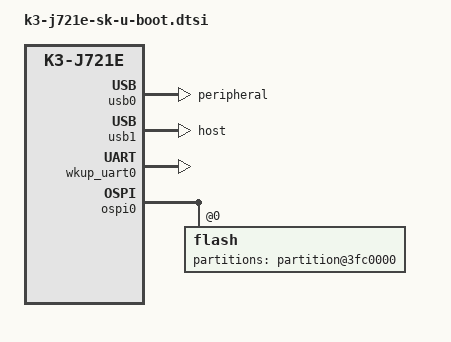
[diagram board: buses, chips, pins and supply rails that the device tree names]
// SPDX-License-Identifier: GPL-2.0
/*
 * Copyright (C) 2021 Texas Instruments Incorporated - https://www.ti.com/
 */

#include "k3-j721e-binman.dtsi"

&cbass_main {
	bootph-all;
};

&main_navss {
	bootph-all;
};

&cbass_mcu_wakeup {
	bootph-all;

	chipid@43000014 {
		bootph-all;
	};
};

&mcu_navss {
	bootph-all;
};

&mcu_ringacc {
		bootph-all;
};

&mcu_udmap {
	reg =	<0x0 0x285c0000 0x0 0x100>,
		<0x0 0x284c0000 0x0 0x4000>,
		<0x0 0x2a800000 0x0 0x40000>,
		<0x0 0x284a0000 0x0 0x4000>,
		<0x0 0x2aa00000 0x0 0x40000>,
		<0x0 0x28400000 0x0 0x2000>;
		reg-names = "gcfg", "rchan", "rchanrt", "tchan",
			    "tchanrt", "rflow";
		bootph-all;
};

&secure_proxy_main {
	bootph-all;
};

&dmsc {
	bootph-all;
};

&k3_pds {
	bootph-all;
};

&k3_clks {
	bootph-all;
};

&k3_reset {
	bootph-all;
};

&wkup_pmx0 {
	bootph-all;
};

&main_pmx0 {
	bootph-all;
};

&main_uart0 {
	bootph-all;
};

&mcu_uart0 {
	bootph-all;
};

&main_sdhci1 {
	bootph-all;
};

&main_uart0_pins_default {
	bootph-all;
};

&serdes_ln_ctrl {
	compatible = "mmio-mux";
	u-boot,mux-autoprobe;
	mux-reg-masks = <0x4080 0x3>, <0x4084 0x3>, /* SERDES0 lane0/1 select */
			<0x4090 0x3>, <0x4094 0x3>, /* SERDES1 lane0/1 select */
			<0x40a0 0x3>, <0x40a4 0x3>, /* SERDES2 lane0/1 select */
			<0x40b0 0x3>, <0x40b4 0x3>, /* SERDES3 lane0/1 select */
			<0x40c0 0x3>, <0x40c4 0x3>, <0x40c8 0x3>, <0x40cc 0x3>;
			/* SERDES4 lane0/1/2/3 select */
};

&usb_serdes_mux {
	compatible = "mmio-mux";
	u-boot,mux-autoprobe;
	mux-reg-masks = <0x4000 0x8000000>, /* USB0 to SERDES0/3 mux */
			<0x4010 0x8000000>; /* USB1 to SERDES1/2 mux */
};

&main_usbss0_pins_default {
	bootph-all;
};

&usbss0 {
	bootph-all;
};

/* Required for USB DFU boot */
&usb0 {
	dr_mode = "peripheral";
	bootph-all;
};

/* Required for USB DFU Boot */
&serdes3_usb_link {
	bootph-all;
};

&main_usbss1_pins_default {
	bootph-all;
};

&usbss1 {
	bootph-all;
};

&usb1 {
	dr_mode = "host";
	bootph-all;
};

&main_mmc1_pins_default {
	bootph-all;
};

&wkup_i2c0_pins_default {
	bootph-all;
};

&wkup_i2c0 {
	bootph-all;
};

&wkup_uart0 {
	bootph-all;
	status = "okay";
};

&mcu_fss0_ospi0_pins_default {
	bootph-all;
};

&fss {
	bootph-all;
};

&main_esm {
	bootph-all;
};

&ospi0 {
	bootph-all;

	flash@0 {
		bootph-all;

		partition@3fc0000 {
			bootph-all;
		};
	};
};

#ifdef CONFIG_TARGET_J721E_A72_EVM

#define SPL_J721E_SK_DTB "spl/dts/k3-j721e-sk.dtb"
#define J721E_SK_DTB "u-boot.dtb"

&spl_j721e_dtb {
	filename = SPL_J721E_SK_DTB;
};

&j721e_dtb {
	filename = J721E_SK_DTB;
};

&spl_j721e_dtb_unsigned {
	filename = SPL_J721E_SK_DTB;
};

&j721e_dtb_unsigned {
	filename = J721E_SK_DTB;
};

#endif
